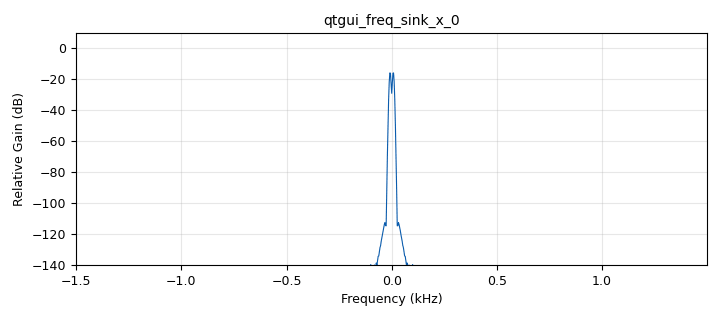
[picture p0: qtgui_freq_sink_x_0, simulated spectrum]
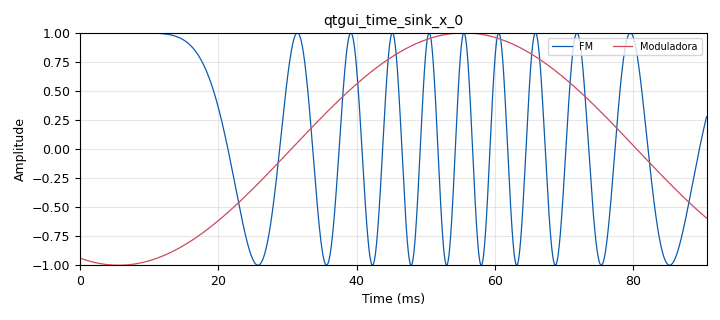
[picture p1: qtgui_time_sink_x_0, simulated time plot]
options:
  parameters:
    author: JuanDavidBarrero
    description: Primera modulación de FM con un VCO c
    generate_options: qt_gui
    id: wbfm
    output_language: python
    title: VC0 FM
  states: {}

blocks:
- name: amp
  id: variable_qtgui_range
  parameters:
    orient: Qt.Horizontal
    start: '0'
    step: '1'
    stop: '10'
    value: '1'
  states: {}
- name: moduladora
  id: variable_qtgui_range
  parameters:
    label: freq
    orient: Qt.Horizontal
    start: '1'
    step: '1'
    stop: '100'
    value: '10'
  states: {}
- name: offset
  id: variable_qtgui_range
  parameters:
    orient: Qt.Horizontal
    start: '0'
    step: '1'
    stop: '10'
    value: '1'
  states: {}
- name: samp_rate
  id: variable
  parameters:
    value: '44100'
  states: {}
- name: analog_sig_source_x_0
  id: analog_sig_source_x
  parameters:
    amp: '1'
    comment: Señal moduladora
    freq: moduladora
    offset: '0'
    phase: '0'
    samp_rate: samp_rate
    type: float
    waveform: analog.GR_COS_WAVE
  states: {}
- name: blocks_add_const_vxx_0
  id: blocks_add_const_vxx
  parameters:
    comment: VCO offset
    const: offset
    type: float
  states: {}
- name: blocks_multiply_const_vxx_0
  id: blocks_multiply_const_vxx
  parameters:
    comment: Amplitud de la señal moduladora
    const: amp
    type: float
  states: {}
- name: blocks_vco_f_0
  id: blocks_vco_f
  parameters:
    amplitude: '1'
    comment: Simple VCO
    samp_rate: samp_rate
    sensitivity: 2*math.pi*100
  states: {}
- name: import_0
  id: import
  parameters:
    imports: import math
  states: {}
- name: qtgui_freq_sink_x_0
  id: qtgui_freq_sink_x
  parameters:
    bw: '3000'
    fc: '0'
    fftsize: '1024'
    type: float
    wintype: firdes.WIN_BLACKMAN_hARRIS
  states: {}
- name: qtgui_time_sink_x_0
  id: qtgui_time_sink_x
  parameters:
    comment: |-
      Permite ver como la frecuencia 
      de la señal portadora cambiar de
      acuerdo a la amplitud de la señal
      moduladora
    grid: 'True'
    label1: FM
    label2: Moduladora
    nconnections: '2'
    size: '4000'
    srate: samp_rate
    type: float
  states: {}
- name: virtual_sink_0
  id: virtual_sink
  parameters:
    stream_id: signal
  states: {}
- name: virtual_source_0
  id: virtual_source
  parameters:
    stream_id: signal
  states: {}

connections:
- [analog_sig_source_x_0, '0', blocks_multiply_const_vxx_0, '0']
- [analog_sig_source_x_0, '0', virtual_sink_0, '0']
- [blocks_add_const_vxx_0, '0', blocks_vco_f_0, '0']
- [blocks_multiply_const_vxx_0, '0', blocks_add_const_vxx_0, '0']
- [blocks_vco_f_0, '0', qtgui_freq_sink_x_0, '0']
- [blocks_vco_f_0, '0', qtgui_time_sink_x_0, '0']
- [virtual_source_0, '0', qtgui_time_sink_x_0, '1']

metadata:
  file_format: 1
